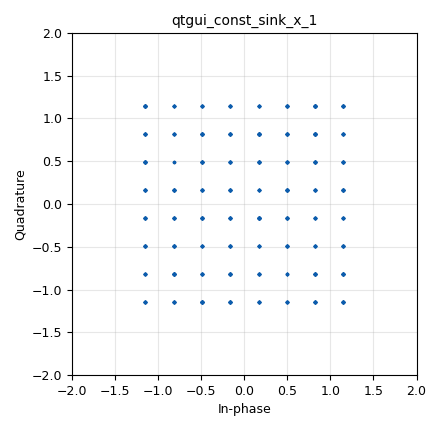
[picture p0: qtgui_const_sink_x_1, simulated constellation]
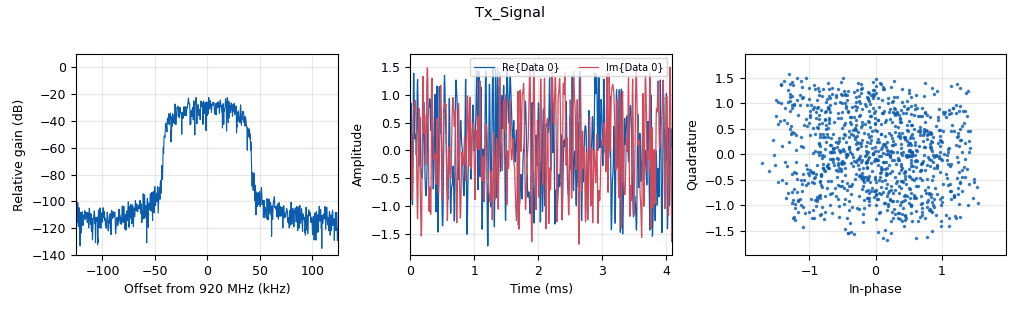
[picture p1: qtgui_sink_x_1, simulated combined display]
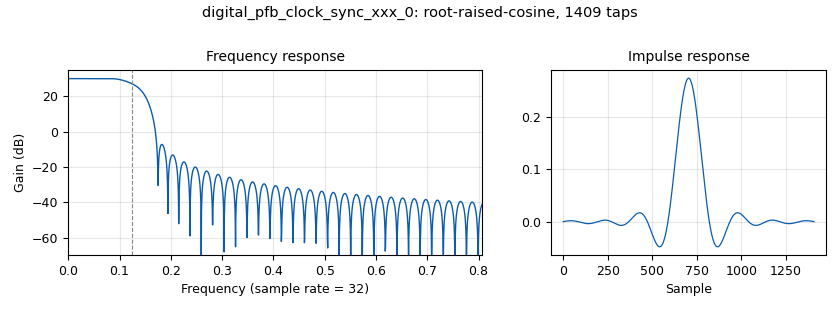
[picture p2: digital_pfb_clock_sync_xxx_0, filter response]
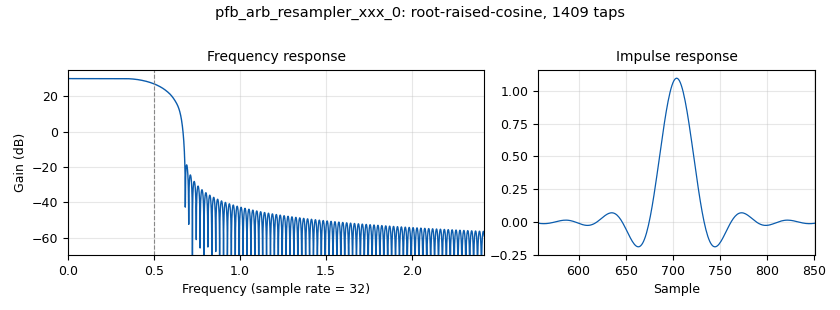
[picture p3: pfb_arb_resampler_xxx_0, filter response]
options:
  parameters:
    generate_options: qt_gui
    id: QAM64_software_simplex
    output_language: python
    title: QAM64_software_simplex
  states: {}

blocks:
- name: arity
  id: variable
  parameters:
    value: '4'
  states: {}
- name: delay
  id: variable_qtgui_range
  parameters:
    gui_hint: 'controls@0: 0,1,1,1'
    label: Delay
    rangeType: int
    start: '0'
    step: '1'
    stop: '200'
    value: '174'
  states: {}
- name: eq_gain
  id: variable_qtgui_range
  parameters:
    gui_hint: 'controls@1: 1,0,1,1'
    label: 'Equalizer: rate'
    start: '0.0'
    step: '0.0001'
    stop: '0.001'
    value: '0.001'
  states: {}
- name: excess_bw
  id: variable
  parameters:
    value: '0.35'
  states: {}
- name: freq
  id: variable
  parameters:
    value: 920e6
  states: {}
- name: freq_offset
  id: variable_qtgui_range
  parameters:
    gui_hint: 'controls@0: 1,1,1,1'
    label: Frequency Offset
    start: '-0.01'
    step: '0.0001'
    stop: '0.01'
    value: '0'
  states: {}
- name: gain_rx
  id: variable_qtgui_range
  parameters:
    gui_hint: 'controls@1: 0,0,1,1'
    label: gain_rx
    start: '0'
    step: '1'
    stop: '74'
    value: '30'
  states: {}
- name: gain_tx
  id: variable_qtgui_range
  parameters:
    gui_hint: 'controls@0: 0,0,1,1'
    label: gain_tx
    start: '0'
    step: '1'
    stop: '74'
    value: '45'
  states: {}
- name: nfilts
  id: variable
  parameters:
    value: '32'
  states: {}
- name: noise_volt
  id: variable_qtgui_range
  parameters:
    gui_hint: 'controls@0: 1,0,1,1'
    label: Noise Voltage
    start: '0'
    step: '0.01'
    stop: '2'
    value: '0'
  states: {}
- name: phase_bw
  id: variable_qtgui_range
  parameters:
    gui_hint: 'controls@1: 1,1,1,1'
    label: 'Phase: Bandwidth'
    start: '0.0'
    step: '0.01'
    stop: '0.1'
    value: 6.28/200
  states: {}
- name: rrc_taps
  id: variable
  parameters:
    value: firdes.root_raised_cosine(nfilts, nfilts, 1.0/float(sps), excess_bw, 11*sps*nfilts)
  states: {}
- name: rrc_taps_tx
  id: variable
  parameters:
    value: firdes.root_raised_cosine(nfilts, nfilts, 1.0, excess_bw, 11*sps*nfilts)
  states: {}
- name: samp_rate
  id: variable
  parameters:
    value: '250000'
  states: {}
- name: sps
  id: variable
  parameters:
    value: '4'
  states: {}
- name: taps
  id: variable
  parameters:
    value: '[0.85,0,0,0.526]'
  states: {}
- name: timing_loop_bw
  id: variable_qtgui_range
  parameters:
    gui_hint: 'controls@1: 0,1,1,1'
    label: timing_loop_bw
    start: '0.0'
    step: '0.001'
    stop: '0.1'
    value: 6.28/200
  states: {}
- name: variable_adaptive_algorithm_1
  id: variable_adaptive_algorithm
  parameters:
    cons: digital.qam_constellation(64,True,digital.mod_codes.GRAY_CODE,True).base()
    modulus: '2'
    step_size: eq_gain
    type: cma
  states: {}
- name: x
  id: variable_qtgui_range
  parameters:
    start: '0'
    step: '0.001'
    stop: '1'
    value: '0.9393'
  states: {}
- name: analog_agc2_xx_0
  id: analog_agc2_xx
  parameters:
    attack_rate: '1e-1'
    decay_rate: '1e-2'
    gain: '1.0'
    max_gain: '65536'
    reference: '1.0'
    type: complex
  states: {}
- name: analog_random_source_x_0
  id: analog_random_source_x
  parameters:
    max: '256'
    min: '0'
    num_samps: '10000000'
    repeat: 'True'
    type: byte
  states: {}
- name: blocks_char_to_float_0_0
  id: blocks_char_to_float
  parameters:
    scale: '1'
  states: {}
- name: blocks_char_to_float_0_0_0
  id: blocks_char_to_float
  parameters:
    scale: '1'
  states: {}
- name: blocks_complex_to_mag_squared_0
  id: blocks_complex_to_mag_squared
  parameters: {}
  states: {}
- name: blocks_delay_0
  id: blocks_delay
  parameters:
    delay: '174'
    type: byte
  states: {}
- name: blocks_file_sink_0
  id: blocks_file_sink
  parameters:
    file: error_16QAM
    type: float
  states: {}
- name: blocks_file_sink_0_0
  id: blocks_file_sink
  parameters:
    file: phase_16QAM
    type: float
  states: {}
- name: blocks_file_sink_0_1
  id: blocks_file_sink
  parameters:
    file: f_16QAM
    type: float
  states: {}
- name: blocks_file_sink_1
  id: blocks_file_sink
  parameters:
    file: bytes_16QAM
    type: byte
  states: {}
- name: blocks_moving_average_xx_0
  id: blocks_moving_average_xx
  parameters:
    length: '100000'
    max_iter: '4000'
    scale: '0.00001'
    type: float
  states: {}
- name: blocks_multiply_const_vxx_0
  id: blocks_multiply_const_vxx
  parameters:
    const: x
    type: complex
  states: {}
- name: blocks_multiply_const_vxx_0_0
  id: blocks_multiply_const_vxx
  parameters:
    const: 1/x
    type: complex
  states: {}
- name: blocks_multiply_const_vxx_1
  id: blocks_multiply_const_vxx
  parameters:
    const: '0.83666'
    type: complex
  states: {}
- name: blocks_packed_to_unpacked_xx_0
  id: blocks_packed_to_unpacked_xx
  parameters:
    bits_per_chunk: '6'
    endianness: gr.GR_MSB_FIRST
    type: byte
  states: {}
- name: blocks_throttle_0
  id: blocks_throttle
  parameters:
    samples_per_second: samp_rate
    type: complex
  states: {}
- name: blocks_unpack_k_bits_bb_0
  id: blocks_unpack_k_bits_bb
  parameters:
    k: '6'
  states: {}
- name: blocks_unpack_k_bits_bb_0_0
  id: blocks_unpack_k_bits_bb
  parameters:
    k: '8'
  states: {}
- name: channels_channel_model_0
  id: channels_channel_model
  parameters:
    epsilon: '1'
    freq_offset: freq_offset
    noise_voltage: noise_volt
    seed: '0'
    taps: '1'
  states: {}
- name: controls
  id: qtgui_tab_widget
  parameters:
    gui_hint: 0,0,1,2
    label0: TX
    label1: RX
    num_tabs: '2'
  states: {}
- name: digital_chunks_to_symbols_xx_0
  id: digital_chunks_to_symbols_xx
  parameters:
    dimension: '1'
    in_type: byte
    out_type: complex
    symbol_table: digital.qam_constellation(64,True,digital.mod_codes.GRAY_CODE,True).points()
  states: {}
- name: digital_constellation_decoder_cb_0
  id: digital_constellation_decoder_cb
  parameters:
    constellation: digital.qam_constellation(64,True,digital.mod_codes.GRAY_CODE,True).base()
  states: {}
- name: digital_constellation_receiver_cb_0
  id: digital_constellation_receiver_cb
  parameters:
    constellation: digital.qam_constellation(64,True,digital.mod_codes.GRAY_CODE,False).base()
    fmax: '0.5'
    fmin: '-0.5'
    loop_bw: phase_bw
    showports: 'True'
  states: {}
- name: digital_diff_decoder_bb_0_0
  id: digital_diff_decoder_bb
  parameters:
    coding: digital.DIFF_DIFFERENTIAL
    modulus: '64'
  states: {}
- name: digital_diff_encoder_bb_0
  id: digital_diff_encoder_bb
  parameters:
    coding: digital.DIFF_DIFFERENTIAL
    modulus: '64'
  states: {}
- name: digital_linear_equalizer_0
  id: digital_linear_equalizer
  parameters:
    alg: variable_adaptive_algorithm_1
    num_taps: '15'
    sps: '2'
  states: {}
- name: digital_pfb_clock_sync_xxx_0
  id: digital_pfb_clock_sync_xxx
  parameters:
    filter_size: nfilts
    init_phase: nfilts/2
    loop_bw: timing_loop_bw
    max_dev: '1.5'
    osps: '2'
    sps: sps
    taps: rrc_taps
    type: ccf
  states: {}
- name: pfb_arb_resampler_xxx_0
  id: pfb_arb_resampler_xxx
  parameters:
    atten: '100'
    nfilts: nfilts
    rrate: sps
    taps: rrc_taps_tx
    type: ccf
  states: {}
- name: qtgui_const_sink_x_0
  id: qtgui_const_sink_x
  parameters:
    grid: 'True'
    gui_hint: 2,0,1,1
    label1: Rx_constellation
    name: '"RX_Constellation"'
    size: '1024'
    type: complex
  states: {}
- name: qtgui_const_sink_x_1
  id: qtgui_const_sink_x
  parameters:
    size: '1024'
    type: complex
  states: {}
- name: qtgui_number_sink_0
  id: qtgui_number_sink
  parameters:
    graph_type: qtgui.NUM_GRAPH_HORIZ
    type: float
  states: {}
- name: qtgui_sink_x_1
  id: qtgui_sink_x
  parameters:
    bw: samp_rate
    fc: freq
    fftsize: '1024'
    gui_hint: 1,0,1,1
    name: '"Tx_Signal"'
    showports: 'True'
    type: complex
  states: {}
- name: qtgui_sink_x_1_0
  id: qtgui_sink_x
  parameters:
    bw: samp_rate
    fc: freq
    fftsize: '1024'
    gui_hint: 1,1,1,1
    name: '"Rx_Signal"'
    showports: 'True'
    type: complex
  states: {}
- name: qtgui_time_sink_x_0
  id: qtgui_time_sink_x
  parameters:
    grid: 'True'
    gui_hint: 2,1,1,1
    label1: RX
    label2: TX
    name: '"TX_vs_RX_Bits"'
    nconnections: '2'
    size: '512'
    srate: samp_rate
    type: float
    ymax: '1.5'
    ymin: '-0.5'
  states: {}
- name: uhd_usrp_sink_0
  id: uhd_usrp_sink
  parameters:
    ant0: '"TX/RX"'
    center_freq0: freq
    clock_rate: '0.0'
    dev_addr: '"serial=31DB53A"'
    dev_args: '""'
    gain0: gain_tx
    len_tag_name: ''
    samp_rate: samp_rate
    sync: sync
    type: fc32
  states: {}
- name: uhd_usrp_source_0
  id: uhd_usrp_source
  parameters:
    ant0: TX/RX
    center_freq0: freq
    clock_rate: '0.0'
    dc_offs_enb0: disabled
    dev_addr: '"serial=31DB5AB"'
    dev_args: '""'
    gain0: gain_rx
    iq_imbal_enb0: disabled
    samp_rate: samp_rate
    sync: none
    type: fc32
  states: {}

connections:
- [analog_agc2_xx_0, '0', digital_constellation_receiver_cb_0, '0']
- [analog_random_source_x_0, '0', blocks_packed_to_unpacked_xx_0, '0']
- [analog_random_source_x_0, '0', blocks_unpack_k_bits_bb_0_0, '0']
- [blocks_char_to_float_0_0, '0', qtgui_time_sink_x_0, '0']
- [blocks_char_to_float_0_0_0, '0', qtgui_time_sink_x_0, '1']
- [blocks_complex_to_mag_squared_0, '0', blocks_moving_average_xx_0, '0']
- [blocks_delay_0, '0', blocks_char_to_float_0_0_0, '0']
- [blocks_moving_average_xx_0, '0', qtgui_number_sink_0, '0']
- [blocks_multiply_const_vxx_0, '0', channels_channel_model_0, '0']
- [blocks_multiply_const_vxx_0_0, '0', digital_pfb_clock_sync_xxx_0, '0']
- [blocks_multiply_const_vxx_1, '0', digital_linear_equalizer_0, '0']
- [blocks_packed_to_unpacked_xx_0, '0', digital_diff_encoder_bb_0, '0']
- [blocks_throttle_0, '0', blocks_multiply_const_vxx_0, '0']
- [blocks_unpack_k_bits_bb_0, '0', blocks_char_to_float_0_0, '0']
- [blocks_unpack_k_bits_bb_0_0, '0', blocks_delay_0, '0']
- [channels_channel_model_0, '0', uhd_usrp_sink_0, '0']
- [digital_chunks_to_symbols_xx_0, '0', pfb_arb_resampler_xxx_0, '0']
- [digital_chunks_to_symbols_xx_0, '0', qtgui_const_sink_x_1, '0']
- [digital_constellation_decoder_cb_0, '0', digital_diff_decoder_bb_0_0, '0']
- [digital_constellation_receiver_cb_0, '0', blocks_file_sink_1, '0']
- [digital_constellation_receiver_cb_0, '1', blocks_file_sink_0, '0']
- [digital_constellation_receiver_cb_0, '2', blocks_file_sink_0_0, '0']
- [digital_constellation_receiver_cb_0, '3', blocks_file_sink_0_1, '0']
- [digital_constellation_receiver_cb_0, '4', digital_constellation_decoder_cb_0, '0']
- [digital_constellation_receiver_cb_0, '4', qtgui_const_sink_x_0, '0']
- [digital_diff_decoder_bb_0_0, '0', blocks_unpack_k_bits_bb_0, '0']
- [digital_diff_encoder_bb_0, '0', digital_chunks_to_symbols_xx_0, '0']
- [digital_linear_equalizer_0, '0', analog_agc2_xx_0, '0']
- [digital_pfb_clock_sync_xxx_0, '0', blocks_multiply_const_vxx_1, '0']
- [pfb_arb_resampler_xxx_0, '0', blocks_throttle_0, '0']
- [pfb_arb_resampler_xxx_0, '0', qtgui_sink_x_1, '0']
- [uhd_usrp_source_0, '0', blocks_complex_to_mag_squared_0, '0']
- [uhd_usrp_source_0, '0', blocks_multiply_const_vxx_0_0, '0']
- [uhd_usrp_source_0, '0', qtgui_sink_x_1_0, '0']

metadata:
  file_format: 1
  grc_version: 3.10.10.0
